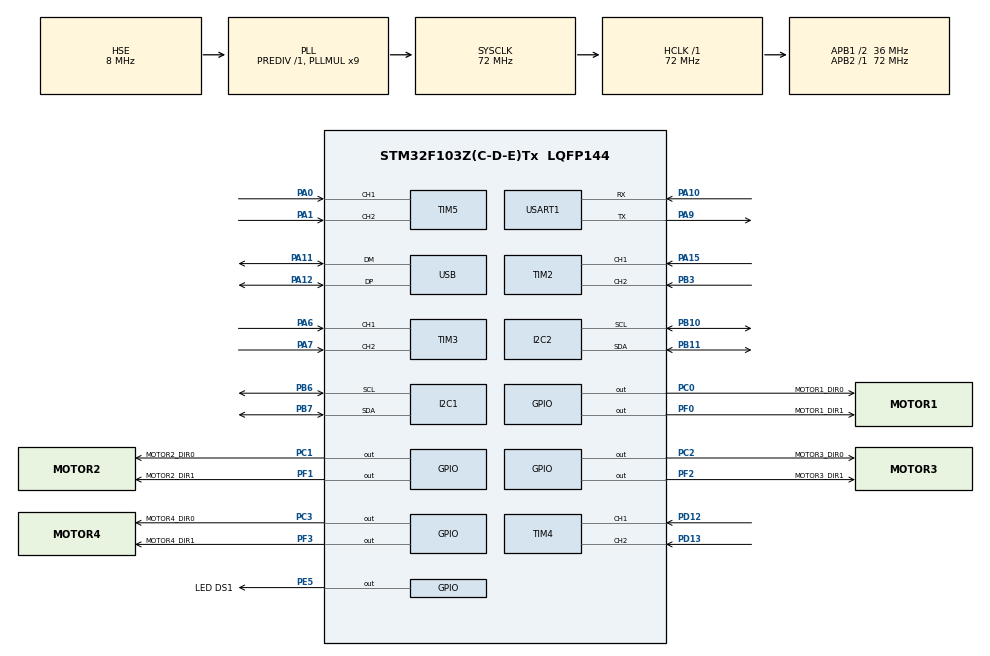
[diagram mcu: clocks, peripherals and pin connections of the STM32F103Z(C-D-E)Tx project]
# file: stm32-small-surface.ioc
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FREERTOS.BinarySemaphores01=statusSemaphore,Dynamic,NULL,Available
FREERTOS.Events01=systemEventGroup,Dynamic,NULL
FREERTOS.INCLUDE_xTaskGetHandle=1
FREERTOS.Mutexes01=motorDataMutex,Dynamic,NULL,Available;servoDataMutex,Dynamic,NULL,Available;i2cMutex,Dynamic,NULL,Available
FREERTOS.Queues01=commandQueue,16,uint16_t,0,Dynamic,NULL,NULL
FREERTOS.Tasks01=defaultTask,8,128,StartDefaultTask,Default,NULL,Dynamic,NULL,NULL;MotorControlTas,8,384,StartMotorControlTask,Default,NULL,Dynamic,NULL,NULL;CommunicationTa,8,512,StartCommunicationTask,Default,NULL,Dynamic,NULL,NULL;MonitorTask,8,384,StartMonitorTask,Default,NULL,Dynamic,NULL,NULL;UsbTxRxTask,8,384,StartUsbTask,Default,NULL,Dynamic,NULL,NULL
FREERTOS.configCHECK_FOR_STACK_OVERFLOW=2
FREERTOS.configTOTAL_HEAP_SIZE=16384
FREERTOS.configUSE_MALLOC_FAILED_HOOK=1
FREERTOS.configUSE_NEWLIB_REENTRANT=1
Mcu.Family=STM32F1
Mcu.Name=STM32F103Z(C-D-E)Tx
Mcu.Package=LQFP144
NVIC.PriorityGroup=NVIC_PRIORITYGROUP_4
NVIC.TIM6_IRQn=true\:15\:0\:false\:false\:true\:false\:true\:true\:true
NVIC.TimeBase=TIM6_IRQn
NVIC.TimeBaseIP=TIM6
NVIC.USART1_IRQn=true\:5\:0\:false\:false\:true\:true\:true\:true\:true
NVIC.USB_LP_CAN1_RX0_IRQn=true\:5\:0\:false\:false\:true\:true\:false\:true\:true
OSC_IN.Mode=HSE-External-Oscillator
OSC_IN.Signal=RCC_OSC_IN
OSC_OUT.Mode=HSE-External-Oscillator
OSC_OUT.Signal=RCC_OSC_OUT
PA0-WKUP.Signal=S_TIM5_CH1
PA1.Signal=S_TIM5_CH2
PA10.Mode=Asynchronous
PA10.Signal=USART1_RX
PA11.Mode=Device
PA11.Signal=USB_DM
PA12.Mode=Device
PA12.Signal=USB_DP
PA13.Mode=Serial_Wire
PA13.Signal=SYS_JTMS-SWDIO
PA14.Mode=Serial_Wire
PA14.Signal=SYS_JTCK-SWCLK
PA15.Signal=S_TIM2_CH1_ETR
PA6.Signal=S_TIM3_CH1
PA7.Signal=S_TIM3_CH2
PA9.Mode=Asynchronous
PA9.Signal=USART1_TX
PB10.Mode=I2C
PB10.Signal=I2C2_SCL
PB11.Mode=I2C
PB11.Signal=I2C2_SDA
PB3.Signal=S_TIM2_CH2
PB6.Mode=I2C
PB6.Signal=I2C1_SCL
PB7.Mode=I2C
PB7.Signal=I2C1_SDA
PC0.GPIO_Label=MOTOR1_DIR0
PC0.Signal=GPIO_Output
PC1.GPIO_Label=MOTOR2_DIR0
PC1.Signal=GPIO_Output
PC14-OSC32_IN.Mode=LSE-External-Oscillator
PC14-OSC32_IN.Signal=RCC_OSC32_IN
PC15-OSC32_OUT.Mode=LSE-External-Oscillator
PC15-OSC32_OUT.Signal=RCC_OSC32_OUT
PC2.GPIO_Label=MOTOR3_DIR0
PC2.Signal=GPIO_Output
PC3.GPIO_Label=MOTOR4_DIR0
PC3.Signal=GPIO_Output
PD12.Signal=S_TIM4_CH1
PD13.Signal=S_TIM4_CH2
PE5.GPIO_Label=LED DS1
PE5.Signal=GPIO_Output
PF0.GPIO_Label=MOTOR1_DIR1
PF0.Signal=GPIO_Output
PF1.GPIO_Label=MOTOR2_DIR1
PF1.Signal=GPIO_Output
PF2.GPIO_Label=MOTOR3_DIR1
PF2.Signal=GPIO_Output
PF3.GPIO_Label=MOTOR4_DIR1
PF3.Signal=GPIO_Output
ProjectManager.HeapSize=0x400
ProjectManager.StackSize=0x1000
ProjectManager.TargetToolchain=STM32CubeIDE
RCC.AHBFreq_Value=72000000
RCC.APB1CLKDivider=RCC_HCLK_DIV2
RCC.APB1Freq_Value=36000000
RCC.APB1TimFreq_Value=72000000
RCC.APB2Freq_Value=72000000
RCC.APB2TimFreq_Value=72000000
RCC.HCLKFreq_Value=72000000
RCC.PLLMUL=RCC_PLL_MUL9
RCC.PLLSourceVirtual=RCC_PLLSOURCE_HSE
RCC.SYSCLKFreq_VALUE=72000000
RCC.SYSCLKSource=RCC_SYSCLKSOURCE_PLLCLK
RCC.USBFreq_Value=48000000
RCC.USBPrescaler=RCC_USBCLKSOURCE_PLL_DIV1_5
SH.S_TIM2_CH1_ETR.0=TIM2_CH1,Encoder_Interface
SH.S_TIM2_CH2.0=TIM2_CH2,Encoder_Interface
SH.S_TIM3_CH1.0=TIM3_CH1,Encoder_Interface
SH.S_TIM3_CH2.0=TIM3_CH2,Encoder_Interface
SH.S_TIM4_CH1.0=TIM4_CH1,Encoder_Interface
SH.S_TIM4_CH2.0=TIM4_CH2,Encoder_Interface
SH.S_TIM5_CH1.0=TIM5_CH1,Encoder_Interface
SH.S_TIM5_CH2.0=TIM5_CH2,Encoder_Interface
TIM2.AutoReloadPreload=TIM_AUTORELOAD_PRELOAD_ENABLE
TIM2.EncoderMode=TIM_ENCODERMODE_TI12
TIM2.IC1Filter=2
TIM2.IC2Filter=2
TIM3.AutoReloadPreload=TIM_AUTORELOAD_PRELOAD_ENABLE
TIM3.EncoderMode=TIM_ENCODERMODE_TI12
TIM3.IC1Filter=2
TIM4.AutoReloadPreload=TIM_AUTORELOAD_PRELOAD_ENABLE
TIM4.EncoderMode=TIM_ENCODERMODE_TI12
TIM4.IC1Filter=2
TIM4.IC2Filter=2
TIM5.AutoReloadPreload=TIM_AUTORELOAD_PRELOAD_ENABLE
TIM5.EncoderMode=TIM_ENCODERMODE_TI12
TIM5.IC1Filter=2
USART1.VirtualMode=VM_ASYNC
USB_DEVICE.CLASS_NAME_FS=CDC
USB_DEVICE.VirtualMode=Cdc
USB_DEVICE.VirtualModeFS=Cdc_FS
VP_CRC_VS_CRC.Mode=CRC_Activate
VP_FREERTOS_VS_CMSIS_V2.Mode=CMSIS_V2
VP_RTC_VS_RTC_Activate.Mode=RTC_Enabled
VP_SYS_VS_tim6.Mode=TIM6
VP_USB_DEVICE_VS_USB_DEVICE_CDC_FS.Mode=CDC_FS
board=custom

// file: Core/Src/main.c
/* USER CODE BEGIN Header */
/**
  ******************************************************************************
  * @file           : main.c
  * @brief          : Main program body
  ******************************************************************************
  * @attention
  *
  * Copyright (c) 2025 STMicroelectronics.
  * All rights reserved.
  *
  * This software is licensed under terms that can be found in the LICENSE file
  * in the root directory of this software component.
  * If no LICENSE file comes with this software, it is provided AS-IS.
  *
  ******************************************************************************
  */
/* USER CODE END Header */
#include "main.h"
#include "cmsis_os.h"
#include "crc.h"
#include "i2c.h"
#include "rtc.h"
#include "tim.h"
#include "usart.h"
#include "usb_device.h"
#include "gpio.h"

void SystemClock_Config(void);
void MX_FREERTOS_Init(void);

int main(void)
{

  /* MCU Configuration--------------------------------------------------------*/

  /* Reset of all peripherals, Initializes the Flash interface and the Systick. */
  HAL_Init();

  /* Configure the system clock */
  SystemClock_Config();

  /* Initialize all configured peripherals */
  MX_GPIO_Init();
  MX_I2C1_Init();
  MX_I2C2_Init();
  MX_RTC_Init();
  MX_TIM2_Init();
  MX_TIM3_Init();
  MX_TIM4_Init();
  MX_USART1_UART_Init();
  MX_TIM5_Init();
  MX_CRC_Init();

  /* Init scheduler */
  osKernelInitialize();  /* Call init function for freertos objects (in cmsis_os2.c) */
  MX_FREERTOS_Init();

  /* Start scheduler */
  osKernelStart();

  /* We should never get here as control is now taken by the scheduler */

  /* Infinite loop */
  while (1)
  {

  }
}

void SystemClock_Config(void)
{
  RCC_OscInitTypeDef RCC_OscInitStruct = {0};
  RCC_ClkInitTypeDef RCC_ClkInitStruct = {0};
  RCC_PeriphCLKInitTypeDef PeriphClkInit = {0};

  /** Initializes the RCC Oscillators according to the specified parameters
  * in the RCC_OscInitTypeDef structure.
  */
  RCC_OscInitStruct.OscillatorType = RCC_OSCILLATORTYPE_LSI|RCC_OSCILLATORTYPE_HSE;
  RCC_OscInitStruct.HSEState = RCC_HSE_ON;
  RCC_OscInitStruct.HSEPredivValue = RCC_HSE_PREDIV_DIV1;
  RCC_OscInitStruct.HSIState = RCC_HSI_ON;
  RCC_OscInitStruct.LSIState = RCC_LSI_ON;
  RCC_OscInitStruct.PLL.PLLState = RCC_PLL_ON;
  RCC_OscInitStruct.PLL.PLLSource = RCC_PLLSOURCE_HSE;
  RCC_OscInitStruct.PLL.PLLMUL = RCC_PLL_MUL9;
  if (HAL_RCC_OscConfig(&RCC_OscInitStruct) != HAL_OK)
  {
    Error_Handler();
  }

  /** Initializes the CPU, AHB and APB buses clocks
  */
  RCC_ClkInitStruct.ClockType = RCC_CLOCKTYPE_HCLK|RCC_CLOCKTYPE_SYSCLK
                              |RCC_CLOCKTYPE_PCLK1|RCC_CLOCKTYPE_PCLK2;
  RCC_ClkInitStruct.SYSCLKSource = RCC_SYSCLKSOURCE_PLLCLK;
  RCC_ClkInitStruct.AHBCLKDivider = RCC_SYSCLK_DIV1;
  RCC_ClkInitStruct.APB1CLKDivider = RCC_HCLK_DIV2;
  RCC_ClkInitStruct.APB2CLKDivider = RCC_HCLK_DIV1;

  if (HAL_RCC_ClockConfig(&RCC_ClkInitStruct, FLASH_LATENCY_2) != HAL_OK)
  {
    Error_Handler();
  }
  PeriphClkInit.PeriphClockSelection = RCC_PERIPHCLK_RTC|RCC_PERIPHCLK_USB;
  PeriphClkInit.RTCClockSelection = RCC_RTCCLKSOURCE_LSI;
  PeriphClkInit.UsbClockSelection = RCC_USBCLKSOURCE_PLL_DIV1_5;
  if (HAL_RCCEx_PeriphCLKConfig(&PeriphClkInit) != HAL_OK)
  {
    Error_Handler();
  }
}

void HAL_TIM_PeriodElapsedCallback(TIM_HandleTypeDef *htim)
{
  if (htim->Instance == TIM6)
  {
    HAL_IncTick();
  }
}

void Error_Handler(void)
{
  __disable_irq();
  while (1)
  {
  }
}

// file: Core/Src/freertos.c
/* USER CODE BEGIN Header */
/**
 ******************************************************************************
 * File Name          : freertos.c
 * Description        : Code for freertos applications
 ******************************************************************************
 * @attention
 *
 * Copyright (c) 2025 STMicroelectronics.
 * All rights reserved.
 *
 * This software is licensed under terms that can be found in the LICENSE file
 * in the root directory of this software component.
 * If no LICENSE file comes with this software, it is provided AS-IS.
 *
 ******************************************************************************
 */
/* USER CODE END Header */

#include "FreeRTOS.h"
#include "task.h"
#include "main.h"
#include "cmsis_os.h"

/* USER CODE BEGIN Includes */
#include "motor_control.h"
#include "communication.h"
#include "monitor.h"
#include "usb_handler.h"
#include "usb_device.h"
/* USER CODE END Includes */

/* USER CODE BEGIN Variables */
/* 声明系统状态全局变量 */
SystemState_t systemState;

/* 任务上下文变量 */
TickType_t motorControlLastWake;
uint32_t motorControlPeriod_ms;

void MotorControlTask_Init(void *argument);
void MotorControlTask_Loop(void);
void CommunicationTask_Init(void *argument);
void CommunicationTask_Loop(void);
void MonitorTask_Init(void *argument);
void MonitorTask_Loop(void);
void UsbTask_Init(void *argument);
void UsbTask_Loop(void);
/* USER CODE END Variables */
/* Definitions for defaultTask */
osThreadId_t defaultTaskHandle;
const osThreadAttr_t defaultTask_attributes = {
  .name = "defaultTask",
  .stack_size = 128 * 4,
  .priority = (osPriority_t) osPriorityLow,
};
/* Definitions for MotorControlTas */
osThreadId_t MotorControlTasHandle;
const osThreadAttr_t MotorControlTas_attributes = {
  .name = "MotorControlTas",
  .stack_size = 384 * 4,
  .priority = (osPriority_t) osPriorityLow,
};
/* Definitions for CommunicationTa */
osThreadId_t CommunicationTaHandle;
const osThreadAttr_t CommunicationTa_attributes = {
  .name = "CommunicationTa",
  .stack_size = 512 * 4,
  .priority = (osPriority_t) osPriorityLow,
};
/* Definitions for MonitorTask */

osThreadId_t MonitorTaskHandle;
const osThreadAttr_t MonitorTask_attributes = {
  .name = "MonitorTask",
  .stack_size = 384 * 4,
  .priority = (osPriority_t) osPriorityLow,
};
/* Definitions for UsbTxRxTask */
osThreadId_t UsbTxRxTaskHandle;
const osThreadAttr_t UsbTxRxTask_attributes = {
  .name = "UsbTxRxTask",
  .stack_size = 384 * 4,
  .priority = (osPriority_t) osPriorityLow,
};
/* Definitions for commandQueue */
osMessageQueueId_t commandQueueHandle;
const osMessageQueueAttr_t commandQueue_attributes = {
  .name = "commandQueue"
};
/* Definitions for motorDataMutex */
osMutexId_t motorDataMutexHandle;
const osMutexAttr_t motorDataMutex_attributes = {
  .name = "motorDataMutex"
};
/* Definitions for servoDataMutex */
osMutexId_t servoDataMutexHandle;
const osMutexAttr_t servoDataMutex_attributes = {
  .name = "servoDataMutex"
};
/* Definitions for i2cMutex */
osMutexId_t i2cMutexHandle;
const osMutexAttr_t i2cMutex_attributes = {
  .name = "i2cMutex"
};
/* Definitions for statusSemaphore */
osSemaphoreId_t statusSemaphoreHandle;
const osSemaphoreAttr_t statusSemaphore_attributes = {
  .name = "statusSemaphore"
};
/* Definitions for systemEventGroup */
osEventFlagsId_t systemEventGroupHandle;
const osEventFlagsAttr_t systemEventGroup_attributes = {
  .name = "systemEventGroup"
};

void StartDefaultTask(void *argument);
void StartMotorControlTask(void *argument);
void StartCommunicationTask(void *argument);
void StartMonitorTask(void *argument);
void StartUsbTask(void *argument);

extern void MX_USB_DEVICE_Init(void);
void MX_FREERTOS_Init(void); /* (MISRA C 2004 rule 8.1) */

/* Hook prototypes */
void vApplicationStackOverflowHook(xTaskHandle xTask, signed char *pcTaskName);
void vApplicationMallocFailedHook(void);

/* USER CODE BEGIN 4 */
void vApplicationStackOverflowHook(xTaskHandle xTask, signed char *pcTaskName)
{
   /* Run time stack overflow checking is performed if
   configCHECK_FOR_STACK_OVERFLOW is defined to 1 or 2. This hook function is
   called if a stack overflow is detected. */
}
/* USER CODE END 4 */

/* USER CODE BEGIN 5 */
void vApplicationMallocFailedHook(void)
{
   /* vApplicationMallocFailedHook() will only be called if
   configUSE_MALLOC_FAILED_HOOK is set to 1 in FreeRTOSConfig.h. It is a hook
   function that will get called if a call to pvPortMalloc() fails.
   pvPortMalloc() is called internally by the kernel whenever a task, queue,
   timer or semaphore is created. It is also called by various parts of the
   demo application. If heap_1.c or heap_2.c are used, then the size of the
   heap available to pvPortMalloc() is defined by configTOTAL_HEAP_SIZE in
   FreeRTOSConfig.h, and the xPortGetFreeHeapSize() API function can be used
   to query the size of free heap space that remains (although it does not
   provide information on how the remaining heap might be fragmented). */
}
/* USER CODE END 5 */

void MX_FREERTOS_Init(void) {
  /* Create the mutex(es) */
  /* creation of motorDataMutex */
  motorDataMutexHandle = osMutexNew(&motorDataMutex_attributes);

  /* creation of servoDataMutex */
  servoDataMutexHandle = osMutexNew(&servoDataMutex_attributes);

  /* creation of i2cMutex */
  i2cMutexHandle = osMutexNew(&i2cMutex_attributes);

  /* Create the semaphores(s) */
  /* creation of statusSemaphore */
  statusSemaphoreHandle = osSemaphoreNew(1, 1, &statusSemaphore_attributes);

  /* Create the queue(s) */
  /* creation of commandQueue */
  commandQueueHandle = osMessageQueueNew (16, sizeof(uint16_t), &commandQueue_attributes);

  /* Create the thread(s) */
  /* creation of defaultTask */
  defaultTaskHandle = osThreadNew(StartDefaultTask, NULL, &defaultTask_attributes);

  /* creation of MotorControlTas */
  MotorControlTasHandle = osThreadNew(StartMotorControlTask, NULL, &MotorControlTas_attributes);

  /* creation of CommunicationTa */
  CommunicationTaHandle = osThreadNew(StartCommunicationTask, NULL, &CommunicationTa_attributes);

  /* creation of MonitorTask */
  MonitorTaskHandle = osThreadNew(StartMonitorTask, NULL, &MonitorTask_attributes);

  /* creation of UsbTxRxTask */
  UsbTxRxTaskHandle = osThreadNew(StartUsbTask, NULL, &UsbTxRxTask_attributes);

  /* USER CODE BEGIN RTOS_THREADS */
  /* add threads, ... */
  USBHandler_Init();
  /* USER CODE END RTOS_THREADS */

  /* creation of systemEventGroup */
  systemEventGroupHandle = osEventFlagsNew(&systemEventGroup_attributes);

}

void StartDefaultTask(void *argument)
{
  /* init code for USB_DEVICE */
  MX_USB_DEVICE_Init();
  /* USER CODE BEGIN StartDefaultTask */
  /* USB设备已在上面初始化，这里不需要重复初始化 */
  /* Infinite loop */
  for (;;)
  {
    osDelay(1);
  }
  /* USER CODE END StartDefaultTask */
}

void StartMotorControlTask(void *argument)
{
  /* USER CODE BEGIN StartMotorControlTask */
  /* 初始化 */
  MotorControlTask_Init(argument);

  /* 主循环 */
  for (;;)
  {
    /* 执行主循环逻辑 */
    MotorControlTask_Loop();

    /* 等周期延时（消除周期漂移） */
    vTaskDelayUntil(&motorControlLastWake, pdMS_TO_TICKS(motorControlPeriod_ms));
  }
  /* USER CODE END StartMotorControlTask */
}

void StartCommunicationTask(void *argument)
{
  /* USER CODE BEGIN StartCommunicationTask */
  /* 初始化 */
  CommunicationTask_Init(argument);

  /* 主循环 */
  for (;;)
  {
    /* 执行主循环逻辑 */
    CommunicationTask_Loop();
  }
  /* USER CODE END StartCommunicationTask */
}

void StartMonitorTask(void *argument)
{
  /* USER CODE BEGIN StartMonitorTask */
  /* 初始化 */
  MonitorTask_Init(argument);

  /* 主循环 */
  for (;;)
  {
    /* 执行主循环逻辑 */
    MonitorTask_Loop();
  }
  /* USER CODE END StartMonitorTask */
}

void StartUsbTask(void *argument)
{
  /* USER CODE BEGIN StartUsbTask */
  /* 初始化 */
  UsbTask_Init(argument);

  /* 主循环 */
  for (;;)
  {
    /* 执行主循环逻辑 */
    UsbTask_Loop();
  }
  /* USER CODE END StartUsbTask */
}
